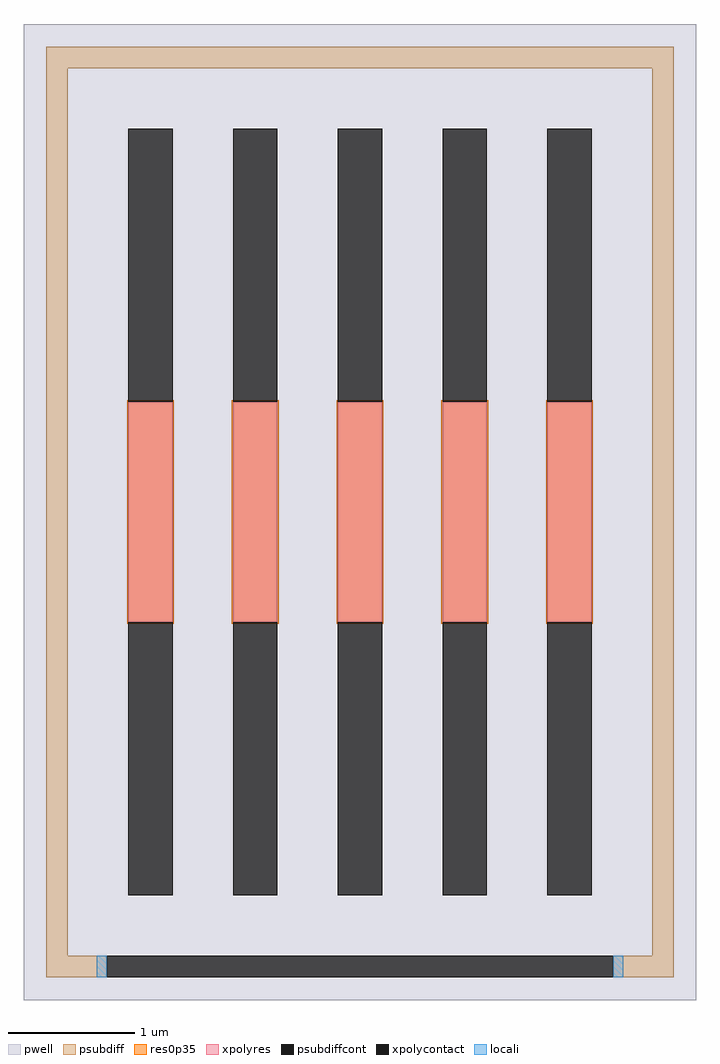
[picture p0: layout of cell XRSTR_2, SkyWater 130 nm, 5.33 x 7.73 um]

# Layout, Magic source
magic
tech sky130A
magscale 1 2
<< pwell >>
rect -533 -773 533 773
<< psubdiff >>
rect -497 703 497 737
rect -497 -703 -463 703
rect 463 -703 497 703
rect -497 -737 -401 -703
rect 401 -737 497 -703
<< psubdiffcont >>
rect -401 -737 401 -703
<< xpolycontact >>
rect -367 175 -297 607
rect -367 -607 -297 -175
rect -201 175 -131 607
rect -201 -607 -131 -175
rect -35 175 35 607
rect -35 -607 35 -175
rect 131 175 201 607
rect 131 -607 201 -175
rect 297 175 367 607
rect 297 -607 367 -175
<< xpolyres >>
rect -367 -175 -297 175
rect -201 -175 -131 175
rect -35 -175 35 175
rect 131 -175 201 175
rect 297 -175 367 175
<< locali >>
rect -417 -737 -401 -703
rect 401 -737 417 -703
<< res0p35 >>
rect -369 -177 -295 177
rect -203 -177 -129 177
rect -37 -177 37 177
rect 129 -177 203 177
rect 295 -177 369 177
<< properties >>
string FIXED_BBOX -480 -720 480 720
<< end >>
